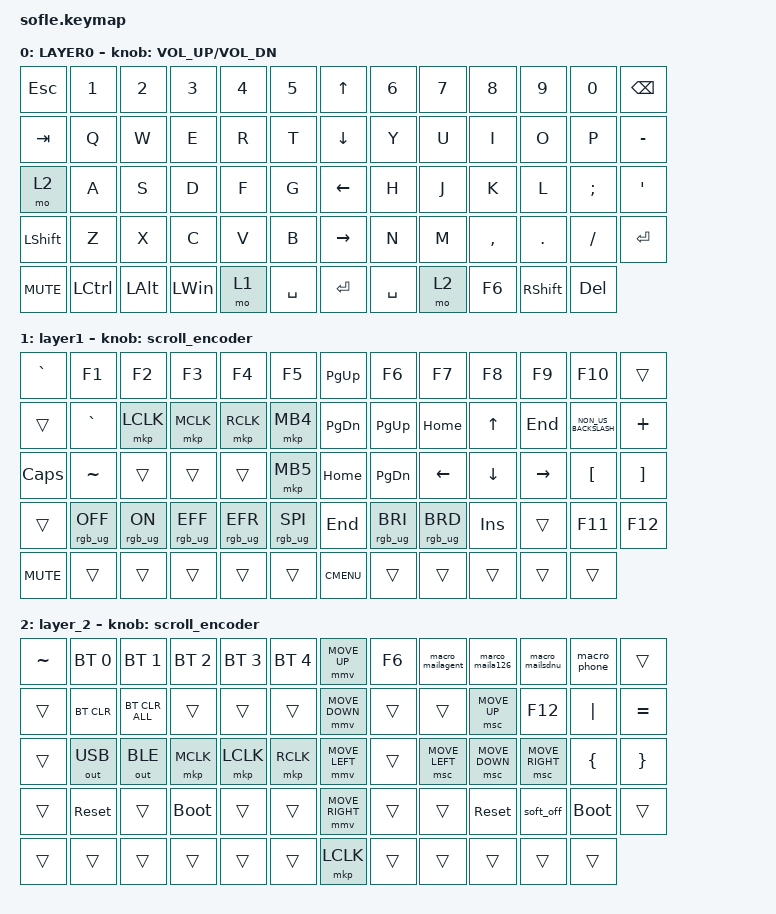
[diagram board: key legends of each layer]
#include <behaviors/mouse_keys.dtsi>
#include <dt-bindings/zmk/mouse.h>
#include <behaviors.dtsi>
#include <dt-bindings/zmk/bt.h>
#include <dt-bindings/zmk/keys.h>
#include <dt-bindings/zmk/outputs.h>
#include <dt-bindings/zmk/pointing.h>
#include <dt-bindings/zmk/rgb.h>

#define ZMK_MOUSE_DEFAULT_MOVE_VAL 1200  // 600
#define ZMK_MOUSE_DEFAULT_SCRL_VAL 20    // 10
#define U_MS_U &mmv MOVE_UP
#define U_MS_D &mmv MOVE_DOWN
#define U_MS_L &mmv MOVE_LEFT
#define U_MS_R &mmv MOVE_RIGHT
#define ZMK_MOUSE_DEFAULT_MOVE_VAL 1200  //  600
#define ZMK_MOUSE_DEFAULT_SCRL_VAL 20    // 10

/ {
    behaviors {
        mmv {
            acceleration-exponent = <1>;      // 1
            time-to-max-speed-ms = <900>;    // 40
            delay-ms = <0>;                   // 0
        };

        msc {
            acceleration-exponent = <1>;      // 0
            time-to-max-speed-ms = <400>;      // 500
            delay-ms = <0>;                   //   10
        };
    };

    scroll_encoder: scroll_encoder {
        compatible = "zmk,behavior-sensor-rotate";
        #sensor-binding-cells = <0>;
        bindings = <&msc SCRL_DOWN>, <&msc SCRL_UP>;

        tap-ms = <30>;
    };

    combos {
        compatible = "zmk,combos";

        a90-left_brace {
            bindings = <&kp F12>;
            key-positions = <50 51>;
            layers = <0>;
        };

        del {
            bindings = <&kp DEL>;
            key-positions = <11 12>;
            layers = <0>;
        };

        op-leftbrack {
            bindings = <&kp LEFT_BRACKET>;
            key-positions = <23 24>;
            layers = <0>;
        };

        p--rightbrack {
            bindings = <&kp RIGHT_BRACKET>;
            key-positions = <24 25>;
            layers = <0>;
        };

        as-toSave {
            bindings = <&kp LC(S)>;
            key-positions = <27 28>;
            layers = <0>;
        };

        zx-toCancel {
            bindings = <&kp LC(Z)>;
            key-positions = <40 41>;
            layers = <0>;
        };

        xc-toCopy {
            bindings = <&kp LC(C)>;
            key-positions = <41 42>;
            layers = <0>;
        };

        cv-toPaste {
            bindings = <&kp LC(V)>;
            key-positions = <42 43>;
            layers = <0>;
        };

        df-toFind {
            bindings = <&kp LC(F)>;
            key-positions = <29 30>;
            layers = <0>;
        };

        a90-doubleparenth {
            bindings = <&macro_double_kuohao>;
            key-positions = <11 10>;
        };

        atabq-grave {
            bindings = <&kp GRAVE>;
            key-positions = <13 14>;
        };

        ctrlShift {
            bindings = <&kp LC(LEFT_SHIFT)>;
            key-positions = <39 26>;
        };

        f6-right {
            bindings = <&kp F6>;
            key-positions = <7 8>;
        };
    };

    macros {
        macro_phone: new_macro {
            compatible = "zmk,behavior-macro";
            #binding-cells = <0>;
            bindings = <&kp N1 &kp N5 &kp N0 &kp N6 &kp N3 &kp N3 &kp N5 &kp N7 &kp N6 &kp N9 &kp N5>;
            label = "NEW_MACRO";
            wait-ms = <10>;
            tap-ms = <10>;
        };

        macro_mailagent: macro_mailagent {
            compatible = "zmk,behavior-macro";
            #binding-cells = <0>;
            bindings = <&kp A &kp G &kp E &kp N &kp T &kp UNDER &kp Z &kp H &kp A &kp N &kp G &kp L &kp I &kp A &kp N &kp G &kp AT &kp N1 &kp N2 &kp N6 &kp DOT &kp C &kp O &kp M>;
            label = "MACRO_MAILAGENT";
            wait-ms = <10>;
            tap-ms = <10>;
        };

        marco_maila126: marco_mailsdnu {
            compatible = "zmk,behavior-macro";
            #binding-cells = <0>;
            bindings = <&kp A &kp N1 &kp N6 &kp N9 &kp N3 &kp N6 &kp N1 &kp AT &kp N1 &kp N2 &kp N6 &kp DOT &kp C &kp O &kp M>;
            label = "MARCO_MAILSDNU";
            wait-ms = <10>;
            tap-ms = <10>;
        };

        macro_mailsdnu: macro_mailsdnu {
            compatible = "zmk,behavior-macro";
            #binding-cells = <0>;
            bindings = <&kp Z &kp H &kp A &kp N &kp G &kp L &kp I &kp A &kp N &kp G &kp N1 &kp AT &kp S &kp D &kp N &kp U &kp DOT &kp E &kp D &kp U &kp DOT &kp C &kp N>;
            label = "MACRO_MAILSDNU";
            wait-ms = <10>;
            tap-ms = <10>;
        };

        macro_double_kuohao: macro_double_kuohao {
            compatible = "zmk,behavior-macro";
            #binding-cells = <0>;
            bindings = <&kp LEFT_PARENTHESIS &kp RIGHT_PARENTHESIS &kp LEFT_ARROW>;
            label = "MACRO_DOUBLE_KUOHAO";
            wait-ms = <10>;
            tap-ms = <10>;
        };
    };

    keymap {
        compatible = "zmk,keymap";

        layer0 {
            bindings = <
&kp ESC     &kp N1     &kp N2        &kp N3        &kp N4  &kp N5       &kp UP_ARROW     &kp N6     &kp N7  &kp N8     &kp N9           &kp N0      &kp BACKSPACE
&kp TAB     &kp Q      &kp W         &kp E         &kp R   &kp T        &kp DOWN_ARROW   &kp Y      &kp U   &kp I      &kp O            &kp P       &kp MINUS
&mo 2       &kp A      &kp S         &kp D         &kp F   &kp G        &kp LEFT_ARROW   &kp H      &kp J   &kp K      &kp L            &kp SEMI    &kp APOS
&kp LSHFT   &kp Z      &kp X         &kp C         &kp V   &kp B        &kp RIGHT_ARROW  &kp N      &kp M   &kp COMMA  &kp DOT          &kp FSLH    &kp ENTER
&kp C_MUTE  &kp LCTRL  &kp LEFT_ALT  &kp LEFT_WIN  &mo 1   &kp SPACE    &kp ENTER        &kp SPACE  &mo 2   &kp F6     &kp RIGHT_SHIFT  &kp DELETE
            >;

            sensor-bindings = <&inc_dec_kp C_VOLUME_UP C_VOL_DN>;
            display-name = "LAYER0";
        };

        layer_1 {
            bindings = <
&kp GRAVE   &kp F1           &kp F2          &kp F3           &kp F4           &kp F5             &kp PG_UP      &kp F6           &kp F7           &kp F8      &kp F9     &kp F10               &trans
&trans      &kp GRAVE        &mkp LCLK       &mkp MCLK        &mkp RCLK        &mkp MB4           &kp PAGE_DOWN  &kp PG_UP        &kp HOME         &kp UP      &kp END    &kp NON_US_BACKSLASH  &kp PLUS
&kp CLCK    &kp TILDE        &trans          &trans           &trans           &mkp MB5           &kp HOME       &kp PG_DN        &kp LEFT         &kp DOWN    &kp RIGHT  &kp LEFT_BRACKET      &kp RIGHT_BRACKET
&trans      &rgb_ug RGB_OFF  &rgb_ug RGB_ON  &rgb_ug RGB_EFF  &rgb_ug RGB_EFR  &rgb_ug RGB_SPI    &kp END        &rgb_ug RGB_BRI  &rgb_ug RGB_BRD  &kp INSERT  &trans     &kp F11               &kp F12
&kp C_MUTE  &trans           &trans          &trans           &trans           &trans             &kp K_CMENU    &trans           &trans           &trans      &trans     &trans
            >;

            display-name = "layer1";
            sensor-bindings = <&scroll_encoder>;
        };

        layer_2 {
            bindings = <
&kp TILDE  &bt BT_SEL 0  &bt BT_SEL 1    &bt BT_SEL 2  &bt BT_SEL 3  &bt BT_SEL 4    &mmv MOVE_UP     &kp F6  &macro_mailagent  &marco_maila126  &macro_mailsdnu  &macro_phone  &trans
&trans     &bt BT_CLR    &bt BT_CLR_ALL  &trans        &trans        &trans          &mmv MOVE_DOWN   &trans  &trans            &msc MOVE_UP     &kp F12          &kp PIPE      &kp EQUAL
&trans     &out OUT_USB  &out OUT_BLE    &mkp MCLK     &mkp LCLK     &mkp RCLK       &mmv MOVE_LEFT   &trans  &msc MOVE_LEFT    &msc MOVE_DOWN   &msc MOVE_RIGHT  &kp LBRC      &kp RBRC
&trans     &sys_reset    &trans          &bootloader   &trans        &trans          &mmv MOVE_RIGHT  &trans  &trans            &sys_reset       &soft_off        &bootloader   &trans
&trans     &trans        &trans          &trans        &trans        &trans          &mkp LCLK        &trans  &trans            &trans           &trans           &trans
            >;

            sensor-bindings = <&scroll_encoder>;
        };
    };
};
